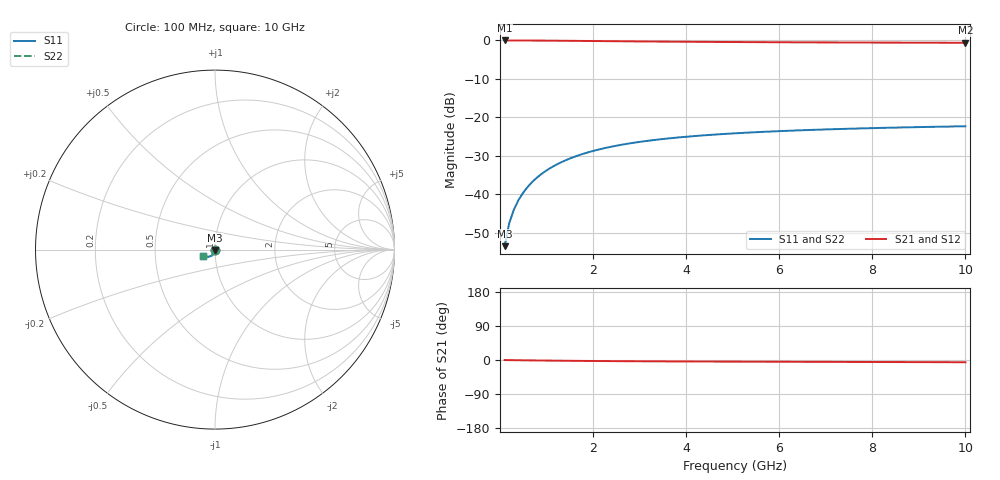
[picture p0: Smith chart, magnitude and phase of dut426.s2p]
! Touchstone file exported from HFSS 2024.1.0
!  File:  C:/UserFiles/LocalFiles/RDL_TSV_Batchsim/temp_TSV1_426_1779693785.aedt
!  Generated:  03:27:59 PM May 25, 2026
!  Design:  TSV1
!  Project:  temp_TSV1_426_1779693785
!  Setup:  Setup1
!  Solution:  Sweep
! Variables:
!  dtsv = 14.68um
!  hbump = 3um
!  htsv = 87.79um
!  lrdl = 252.1521522um
!  p = 40
!  p1 = 45.3um
!  t = 500um
!  trdl = 3um
!  wrdl = 24.89489489um
# GHz S MA R 50.000000
! Terminal data exported
! Port[1] = TSV22_T1
! Port[2] = TSV22_T2
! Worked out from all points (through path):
!   100 points, 100 MHz to 10 GHz, reference 50 ohm
!   highest |S21| = 0.00 dB at 100 MHz (marker M1); lowest = -0.6 dB at 10 GHz (marker M2)
!   lowest |S11| = -53.5 dB at 100 MHz (marker M3), VSWR 1.00, Z = 50 - j0.211 ohm
!   |S11| at or under -10 dB: start of sweep to end of sweep
!   |S22| runs from -53.5 to -22.3 dB; largest |S21 - S12| = 5.6e-15
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0.1  0.002106 -89.2  0.9998 -0.2  0.9998 -0.2  0.002106 -89.2
! Gamma 0 0 0 0
! Port Impedance 50 0 50 0
0.2  0.004214 -91.8  0.9997 -0.3  0.9997 -0.3  0.004214 -91.8
0.3  0.006319 -93.7  0.9993 -0.5  0.9993 -0.5  0.006319 -93.7
0.4  0.008413 -95.5  0.9989 -0.6  0.9989 -0.6  0.008413 -95.5
0.5  0.01049 -97.2  0.9984 -0.8  0.9984 -0.8  0.01049 -97.2
0.6  0.01253 -98.8  0.9978 -0.9  0.9978 -0.9  0.01253 -98.8
0.7  0.01455 -100.4  0.9971 -1.1  0.9971 -1.1  0.01455 -100.4
0.8  0.01652 -102.0  0.9963 -1.2  0.9963 -1.2  0.01652 -102.0
0.9  0.01846 -103.6  0.9954 -1.4  0.9954 -1.4  0.01846 -103.6
1.1  0.02219 -106.5  0.9935 -1.6  0.9935 -1.6  0.02219 -106.5
1.4  0.02743 -110.7  0.9902 -2.0  0.9902 -2.0  0.02743 -110.7
1.6  0.03066 -113.3  0.9879 -2.2  0.9879 -2.2  0.03066 -113.3
1.8  0.03368 -115.7  0.9854 -2.4  0.9854 -2.4  0.03368 -115.7
2.1  0.03783 -119.1  0.9818 -2.7  0.9818 -2.7  0.03783 -119.1
2.5  0.04271 -123.2  0.977 -3.0  0.977 -3.0  0.04271 -123.2
2.9  0.04691 -126.7  0.9724 -3.3  0.9724 -3.3  0.04691 -126.7
3.4  0.05139 -130.6  0.9672 -3.6  0.9672 -3.6  0.05139 -130.6
4.2  0.05716 -135.6  0.9599 -4.0  0.9599 -4.0  0.05716 -135.6
5.1  0.06216 -140.0  0.9533 -4.3  0.9533 -4.3  0.06216 -140.0
6.7  0.06859 -145.8  0.9443 -4.9  0.9443 -4.9  0.06859 -145.8
8.4  0.07328 -150.2  0.9375 -5.4  0.9375 -5.4  0.07328 -150.2
10  0.07647 -153.3  0.9328 -5.9  0.9328 -5.9  0.07647 -153.3
